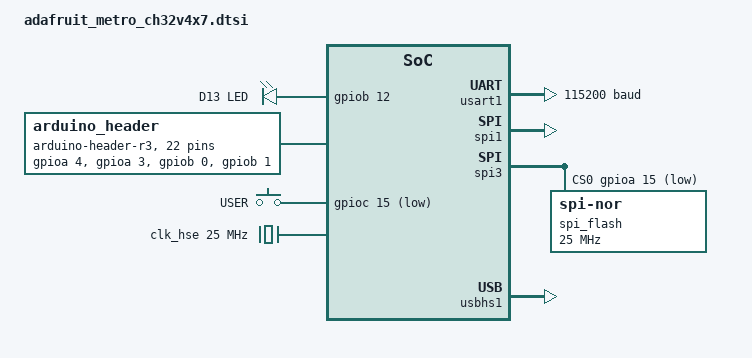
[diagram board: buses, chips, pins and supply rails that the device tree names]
/*
 * Copyright (c) 2026 Adafruit Industries
 *
 * SPDX-License-Identifier: Apache-2.0
 */

#include <zephyr/dt-bindings/input/input-event-codes.h>
#include "adafruit_metro_ch32v4x7-pinctrl.dtsi"

/ {
	chosen {
		zephyr,sram = &sram0;
		zephyr,flash = &flash0;
		zephyr,code-partition = &slot0_partition;
		zephyr,console = &usart1;
		zephyr,shell-uart = &usart1;
	};

	aliases {
		led0 = &led;
		spi-flash0 = &spi_flash;
		sw0 = &user_button;
	};

	leds {
		compatible = "gpio-leds";

		led: led {
			gpios = <&gpiob 12 GPIO_ACTIVE_HIGH>;
			label = "D13 LED";
		};
	};

	arduino_header: connector {
		compatible = "arduino-header-r3";
		#gpio-cells = <2>;
		gpio-map-mask = <0xffffffff 0xffffffc0>;
		gpio-map-pass-thru = <0 0x3f>;
		gpio-map = <0 0 &gpioa 4 0>,	/* A0 */
			   <1 0 &gpioa 3 0>,	/* A1 */
			   <2 0 &gpiob 0 0>,	/* A2 */
			   <3 0 &gpiob 1 0>,	/* A3 */
			   <4 0 &gpioc 4 0>,	/* A4 */
			   <5 0 &gpioc 5 0>,	/* A5 */
			   <6 0 &gpiob 7 0>,	/* D0 */
			   <7 0 &gpiob 6 0>,	/* D1 */
			   <8 0 &gpiob 8 0>,	/* D2 */
			   <9 0 &gpiob 9 0>,	/* D3 */
			   <10 0 &gpioc 0 0>,	/* D4 */
			   <11 0 &gpioc 1 0>,	/* D5 */
			   <12 0 &gpioc 2 0>,	/* D6 */
			   <13 0 &gpioc 3 0>,	/* D7 */
			   <14 0 &gpioa 0 0>,	/* D8 */
			   <15 0 &gpioa 1 0>,	/* D9 */
			   <16 0 &gpioa 2 0>,	/* D10 */
			   <17 0 &gpioa 8 0>,	/* D11 */
			   <18 0 &gpioa 9 0>,	/* D12 */
			   <19 0 &gpiob 12 0>,	/* D13 */
			   <20 0 &gpiob 11 0>,	/* SDA */
			   <21 0 &gpiob 10 0>;	/* SCL */
	};

	buttons {
		compatible = "gpio-keys";

		user_button: button {
			gpios = <&gpioc 15 (GPIO_PULL_UP | GPIO_ACTIVE_LOW)>;
			label = "USER";
			zephyr,code = <INPUT_KEY_0>;
		};
	};
};

&clk_hse {
	clock-frequency = <DT_FREQ_M(25)>;
	status = "okay";
};

&pll {
	clocks = <&clk_hse>;
	mul = <16>;
	status = "okay";
};

&rcc {
	clocks = <&pll>;
};

&gpioa {
	status = "okay";
};

&gpiob {
	status = "okay";
};

&gpioc {
	status = "okay";
};

&usart1 {
	current-speed = <115200>;
	pinctrl-0 = <&usart1_default>;
	pinctrl-names = "default";
	status = "okay";
};

&spi1 {
	pinctrl-0 = <&spi1_default>;
	pinctrl-names = "default";
	status = "okay";
};

&spi3 {
	pinctrl-0 = <&spi3_default>;
	pinctrl-names = "default";
	cs-gpios = <&gpioa 15 GPIO_ACTIVE_LOW>;
	status = "okay";

	/* 4 MB SPI NOR (GD25Q32) */
	spi_flash: flash@0 {
		compatible = "jedec,spi-nor";
		reg = <0>;
		spi-max-frequency = <DT_FREQ_M(25)>;
		size = <DT_SIZE_M(32)>;
		has-dpd;
		t-enter-dpd = <3000>;
		t-exit-dpd = <30000>;
		status = "okay";
	};
};

&flash0 {
	partitions {
		ranges;
		#address-cells = <1>;
		#size-cells = <1>;

		/* adaboot (MCUboot with a UF2 drive) */
		boot_partition: partition@0 {
			compatible = "zephyr,mapped-partition";
			reg = <0x00000000 DT_SIZE_K(64)>;
			label = "mcuboot";
			read-only;
		};

		/* Single-app slot. Only the first 448 KiB are zero wait state. */
		slot0_partition: partition@10000 {
			compatible = "zephyr,mapped-partition";
			reg = <0x00010000 DT_SIZE_K(892)>;
			label = "image-0";
		};

		storage_partition: partition@ef000 {
			compatible = "zephyr,mapped-partition";
			reg = <0x000ef000 DT_SIZE_K(32)>;
			label = "storage";
		};

		nvm_partition: partition@f7000 {
			compatible = "zephyr,mapped-partition";
			reg = <0x000f7000 DT_SIZE_K(4)>;
			label = "nvm";
		};
	};
};

/* USB-C. Full speed until high speed has been tested. */
zephyr_udc0: &usbhs1 {
	maximum-speed = "full-speed";
	status = "okay";
};
